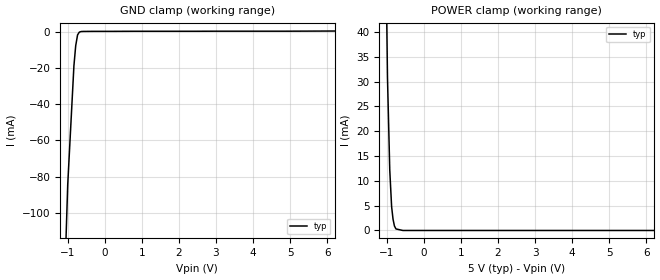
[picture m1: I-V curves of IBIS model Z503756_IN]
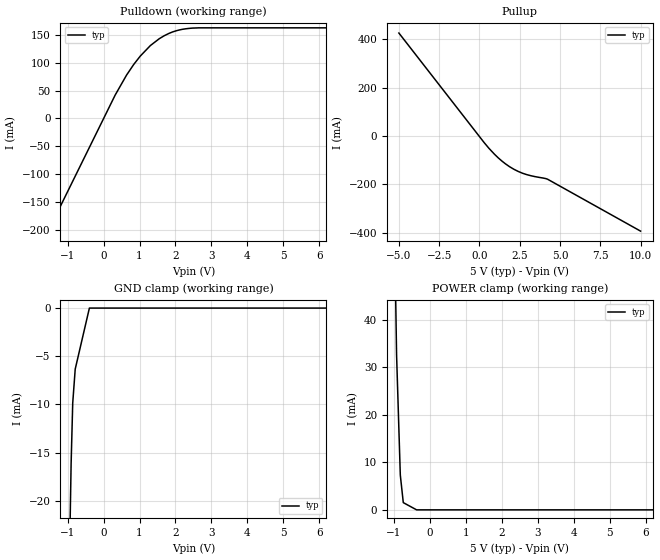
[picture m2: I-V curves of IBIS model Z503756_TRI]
| YOU ARE ONLY AUTHORIZED TO USE THIS SOFTWARE
| ACCORDING TO LICENSOR'S LICENSE RESTRICTIONS.
[IBIS Ver] 3.1
[File Name] mc74ac240dw_5.ibs
[File Rev] 2.0
[Source] Measured and created by ICX Technology
[Date] Friday 7/14/00 9:07:59 AM
[Copyright]
| (C) COPYRIGHT 1993-2000
| MENTOR GRAPHICS CORPORATION
| ICX STANDARD LIBRARY, ICX PROJECT MODELING,
| ICX CUSTOM MODELING, ICX VENDOR MODEL
| ALL RIGHTS RESERVED.
| THE FOLLOWING ARE TRADEMARKS OR SERVICE MARKS OF
| MENTOR GRAPHICS CORPORATION:ICX (R), ICX STANDARD
| LIBRARY(R), ICX PROJECT MODELING(R), ICX CUSTOM
| MODELING(R), qualityIBIS(TM), MODELVIEWER(TM),
| AND MODELEDITOR(TM)
| ALL COPIES OF SOFTWARE, INCLUDING BUT NOT LIMITED TO
| ANY MODIFICATIONS, ENHANCEMENTS OR DERIVATIVE WORKS,
| MUST CONTAIN ALL MENTOR GRAPHICS CORPORATION'S
| NOTICES AND LEGENDS, INCLUDING THOSE EMBEDDED IN
| SOFTWARE AND THOSE AFFIXED TO SOFTWARE MEDIUM
| AND CONTAINER, AS RECEIVED FROM MENTOR GRAPHICS
| CORPORATION.
|  ZAP Model Builder 2.7
[Component] MC74AC240DW_5
[Manufacturer] OnSemiconductor
[Package]
| variable   typ   min   max
R_pkg  .178ohms NA NA
L_pkg  4.43nH NA NA
C_pkg  .62pF NA NA
[Pin] signal_name  model_name  R_pin  L_pin C_pin
1 _G Z503756_IN .186 5.37n .68p
2 A0 Z503756_IN .182 4.89n .65p
3 _Y3 Z503756_TRI .178 4.42n .62p
4 A1 Z503756_IN .174 3.96n .59p
5 _Y2 Z503756_TRI .17 3.51n .56p
6 A2 Z503756_IN .17 3.51n .56p
7 _Y1 Z503756_TRI .174 3.96n .59p
8 A3 Z503756_IN .178 4.42n .62p
9 _Y0 Z503756_TRI .182 4.89n .65p
10 GROUND GND .186 5.37n .68p
11 A0 Z503756_IN .186 5.37n .68p
12 _Y3 Z503756_TRI .182 4.89n .65p
13 A1 Z503756_IN .178 4.42n .62p
14 _Y2 Z503756_TRI .174 3.96n .59p
15 A2 Z503756_IN .17 3.51n .56p
16 _Y1 Z503756_TRI .17 3.51n .56p
17 A3 Z503756_IN .174 3.96n .59p
18 _Y0 Z503756_TRI .178 4.42n .62p
19 _G Z503756_IN .182 4.89n .65p
20 VCC POWER .186 5.37n .68p
| Models and submodels in the file (2): Z503756_IN (Input), Z503756_TRI (3-state)
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| (C) COPYRIGHT 1993-2000
| MENTOR GRAPHICS CORPORATION
| ICX STANDARD LIBRARY, ICX PROJECT MODELING,
| ICX CUSTOM MODELING, ICX VENDOR MODEL
| ALL RIGHTS RESERVED.
| THE FOLLOWING ARE TRADEMARKS OR SERVICE MARKS OF
| MENTOR GRAPHICS CORPORATION:ICX (R), ICX STANDARD
| LIBRARY(R), ICX PROJECT MODELING(R), ICX CUSTOM
| MODELING(R), qualityIBIS(TM), MODELVIEWER(TM),
| AND MODELEDITOR(TM)
| ALL COPIES OF SOFTWARE, INCLUDING BUT NOT LIMITED TO
| ANY MODIFICATIONS, ENHANCEMENTS OR DERIVATIVE WORKS,
| MUST CONTAIN ALL MENTOR GRAPHICS CORPORATION'S
| NOTICES AND LEGENDS, INCLUDING THOSE EMBEDDED IN
| SOFTWARE AND THOSE AFFIXED TO SOFTWARE MEDIUM
| AND CONTAINER, AS RECEIVED FROM MENTOR GRAPHICS
| CORPORATION.
| Model Application Version 1.89 2/18/99.
[Model] Z503756_IN
Model_type Input
Vinl = 1.500V
Vinh = 3.500V
C_comp 4.000pF NA NA
| variable typ   min   max
[Voltage Range] 5.000V NA NA
[GND Clamp Reference] 0.000V NA NA
[POWER Clamp Reference] 5.000V NA NA
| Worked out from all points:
|   GND clamp passes 1 mA (typ) near -0.70 V on its own axis
|   POWER clamp passes 1 mA (typ) near -0.80 V on its own axis
[GND Clamp]
-5V       -2.666A    NA         NA
-995.8mV  -84.32mA   NA         NA
-828.9mV  -18.89mA   NA         NA
-780.9mV  -7.838mA   NA         NA
-730.7mV  -1.86mA    NA         NA
-667.6mV  -168uA     NA         NA
10V       573.4uA    NA         NA
[POWER Clamp]
-5V       4.042A     NA         NA
-1.256V   237.4mA    NA         NA
-1.103V   103.2mA    NA         NA
-981mV    30.98mA    NA         NA
-919mV    12.17mA    NA         NA
-869mV    4.808mA    NA         NA
-831mV    2.288mA    NA         NA
-793mV    905.5uA    NA         NA
-752mV    310.9uA    NA         NA
-564mV    0A         NA         NA
10V       0A         NA         NA
| (C) COPYRIGHT 1993-2000
| MENTOR GRAPHICS CORPORATION
| ICX STANDARD LIBRARY, ICX PROJECT MODELING,
| ICX CUSTOM MODELING, ICX VENDOR MODEL
| ALL RIGHTS RESERVED.
| THE FOLLOWING ARE TRADEMARKS OR SERVICE MARKS OF
| MENTOR GRAPHICS CORPORATION:ICX (R), ICX STANDARD
| LIBRARY(R), ICX PROJECT MODELING(R), ICX CUSTOM
| MODELING(R), qualityIBIS(TM), MODELVIEWER(TM),
| AND MODELEDITOR(TM)
| ALL COPIES OF SOFTWARE, INCLUDING BUT NOT LIMITED TO
| ANY MODIFICATIONS, ENHANCEMENTS OR DERIVATIVE WORKS,
| MUST CONTAIN ALL MENTOR GRAPHICS CORPORATION'S
| NOTICES AND LEGENDS, INCLUDING THOSE EMBEDDED IN
| SOFTWARE AND THOSE AFFIXED TO SOFTWARE MEDIUM
| AND CONTAINER, AS RECEIVED FROM MENTOR GRAPHICS
| CORPORATION.
| Model Application Version 1.89 2/18/99.
[Model] Z503756_TRI
Model_type 3-state
Vref=0.000V
Rref=500.0ohms
Cref=50.00pF
Vmeas=2.500V
C_comp 8.000pF NA NA
| variable typ   min   max
[Voltage Range] 5.000V NA NA
[POWER Clamp Reference] 5.000V NA NA
[Pullup Reference] 5.000V NA NA
[Pulldown Reference] 0.000V NA NA
[GND Clamp Reference] 0.000V NA NA
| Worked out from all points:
|   slope of the pulldown table from 0 to 0.75 V, typ, clamps not added: 8.44 ohm
|   slope of the pullup table from 0 to 0.75 V, typ, clamps not added: 12.5 ohm
[GND Clamp]
-5V       -748.6mA   NA         NA
-1.104V   -59.71mA   NA         NA
-902.8mV  -16.11mA   NA         NA
-858.3mV  -9.853mA   NA         NA
-789.1mV  -6.334mA   NA         NA
-394.5mV  0A         NA         NA
10V       0A         NA         NA
[Pulldown]
-5V       -656.4mA   NA         NA
323.1mV   42.19mA    NA         NA
640.2mV   78.13mA    NA         NA
839mV     97.19mA    NA         NA
1.023V    112.4mA    NA         NA
1.304V    131.3mA    NA         NA
1.549V    143.5mA    NA         NA
1.915V    155.6mA    NA         NA
2.207V    160.6mA    NA         NA
2.643V    163.1mA    NA         NA
10V       163.1mA    NA         NA
[Pullup]
-5V       425.6mA    NA         NA
294mV     -27.47mA   NA         NA
939mV     -75.79mA   NA         NA
1.406V    -104.2mA   NA         NA
2.132V    -137.3mA   NA         NA
2.675V    -153.9mA   NA         NA
4.225V    -178.5mA   NA         NA
10V       -393.2mA   NA         NA
[POWER Clamp]
-5V       2.515A     NA         NA
-1.099V   115.2mA    NA         NA
-928mV    32.63mA    NA         NA
-824mV    7.323mA    NA         NA
-741mV    1.52mA     NA         NA
-370.5mV  0A         NA         NA
10V       0A         NA         NA
[Ramp]
| variable typ min max
dV/dt_r 2.946/802.8p NA NA
dV/dt_f 2.946/600.8p NA NA
R_load = 500.0Ohms
